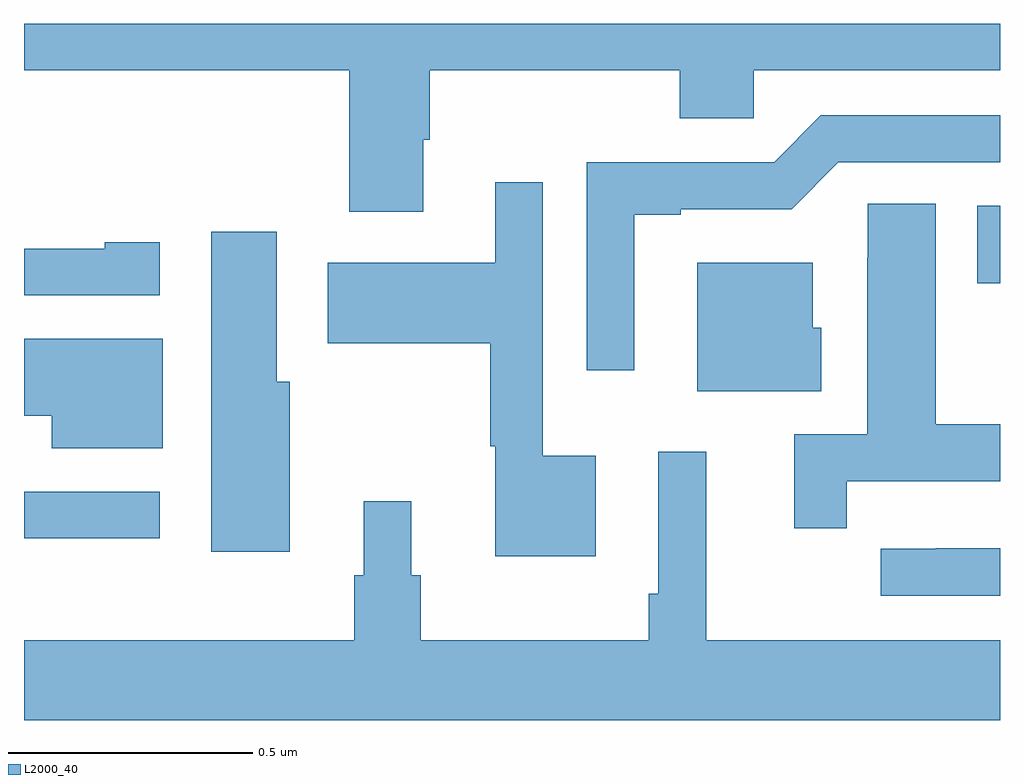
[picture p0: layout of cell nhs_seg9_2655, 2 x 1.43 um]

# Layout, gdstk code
import gdstk
lib = gdstk.Library(unit=1e-6, precision=1e-09)
def R(c, l, rs):  # rectangles x0, y0, x1, y1
    for r in rs: c.add(gdstk.rectangle(r[:2], r[2:], *l))
def P(c, l, *ps):  # polygons
    for p in ps: c.add(gdstk.Polygon(p, *l))
L2000_40 = (2000, 40)

nhs_seg9_2655 = lib.new_cell('nhs_seg9_2655')
R(nhs_seg9_2655, L2000_40, [(143,1211.445,143.278,1211.541), (144.953,1211.968,145,1212.127)])
P(nhs_seg9_2655, L2000_40, [(143.818,1212.262),(143.831,1212.262),(143.831,1212.404),(144.344,1212.404),(144.344,1212.306),(144.495,1212.306),(144.495,1212.404),(145,1212.404),(145,1212.5),(143,1212.5),(143,1212.404),(143.666,1212.404),(143.666,1212.114),(143.818,1212.114)],
  [(144.25,1212.108),(144.346,1212.108),(144.346,1212.12),(144.573,1212.12),(144.669,1212.216),(145,1212.216),(145,1212.312),(144.633,1212.312),(144.537,1212.216),(144.153,1212.216),(144.153,1211.79),(144.25,1211.79)],
  [(144.172,1211.614),(144.063,1211.614),(144.063,1212.175),(143.966,1212.175),(143.966,1212.01),(143.622,1212.01),(143.622,1211.845),(143.955,1211.845),(143.955,1211.634),(143.966,1211.634),(143.966,1211.408),(144.172,1211.408)],
  [(144.686,1211.562),(145,1211.562),(145,1211.679),(144.868,1211.679),(144.868,1212.131),(144.729,1212.131),(144.729,1212.02),(144.728,1212.02),(144.728,1211.658),(144.578,1211.658),(144.578,1211.466),(144.686,1211.466)],
  [(143.545,1211.766),(143.518,1211.766),(143.518,1212.073),(143.384,1212.073),(143.384,1211.418),(143.545,1211.418)],
  [(143.278,1212.052),(143.165,1212.052),(143.165,1212.039),(143,1212.039),(143,1211.943),(143.278,1211.943)],
  [(144.634,1211.877),(144.616,1211.877),(144.616,1212.01),(144.38,1212.01),(144.38,1211.747),(144.634,1211.747)],
  [(143.284,1211.854),(143,1211.854),(143,1211.696),(143.057,1211.696),(143.057,1211.63),(143.284,1211.63)],
  [(145,1211.236),(144.398,1211.236),(144.398,1211.623),(144.3,1211.623),(144.3,1211.332),(144.28,1211.332),(144.28,1211.236),(143.813,1211.236),(143.813,1211.37),(143.794,1211.37),(143.794,1211.521),(143.696,1211.521),(143.696,1211.37),(143.677,1211.37),(143.677,1211.236),(143,1211.236),(143,1211.072),(145,1211.072)],
  [(145,1211.425),(144.868,1211.425),(144.868,1211.424),(144.756,1211.424),(144.756,1211.328),(145,1211.328)])

lib.write_gds('nhs_seg9_2655.gds')
